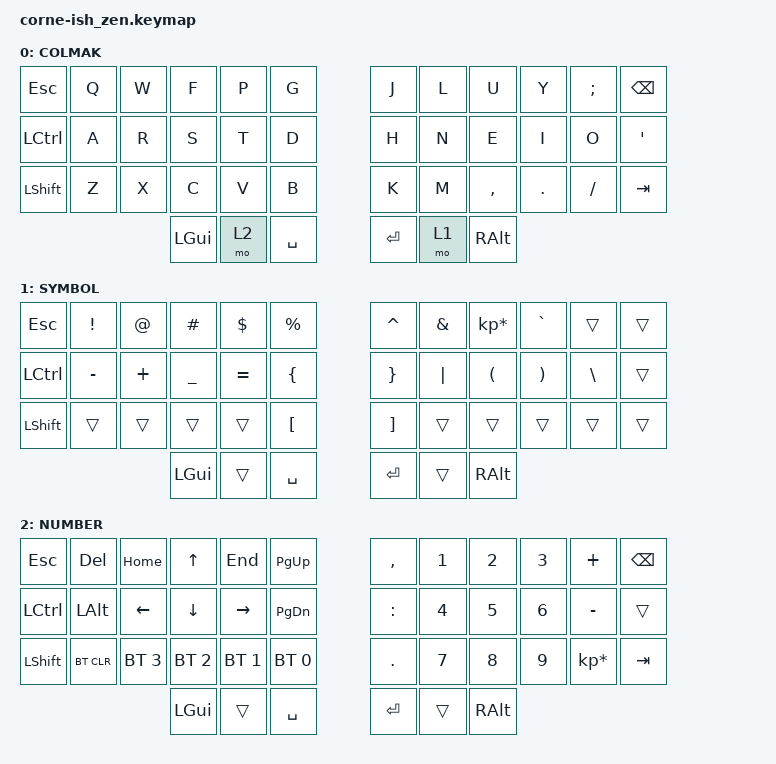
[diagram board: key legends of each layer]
/*
*
* Copyright (c) 2021 Darryl deHaan
* SPDX-License-Identifier: MIT
*
*/

#include <behaviors.dtsi>
#include <dt-bindings/zmk/keys.h>
#include <dt-bindings/zmk/bt.h>

/ {
        keymap {
                compatible = "zmk,keymap";
                default_layer {
                        label = "COLMAK";
// -----------------------------------------------------------------------------------------
// | ESC  |  Q  |  W  |  F  |  P  |  G  |   |  J  |  L   |  U  |  Y  |  ;  | BKSP |
// | CTRL |  A  |  R  |  S  |  T  |  D  |   |  H  |  N   |  E  |  I  |  O  |  '   |
// | SHFT |  Z  |  X  |  C  |  V  |  B  |   |  K  |  M   |  ,  |  .  |  /  | TAB  |
//                    | GUI | LWR | SPC |   | ENT | RSE  | ALT |
                        bindings = <
   &kp ESC    &kp Q  &kp W  &kp F      &kp P  &kp G      &kp J    &kp L  &kp U      &kp Y    &kp SEMI  &kp BSPC
   &kp LCTRL  &kp A  &kp R  &kp S      &kp T  &kp D      &kp H    &kp N  &kp E      &kp I    &kp O     &kp SQT
   &kp LSHFT  &kp Z  &kp X  &kp C      &kp V  &kp B      &kp K    &kp M  &kp COMMA  &kp DOT  &kp FSLH  &kp TAB
                            &kp LGUI   &mo 2  &kp SPACE  &kp RET  &mo 1  &kp RALT
                        >;
                };

                raise_layer {
                        label = "SYMBOL";
// -----------------------------------------------------------------------------------------
// | ESC  |  !  |  @  |  #  |  $  |  %  |   |  ^  |  &  |  *  |  `  |  :  | BKSP |
// | CTRL |  -  |  +  |  _  |  =  |  {  |   |  }  |  |  |  (  |  )  |  \  |  "   |
// | SHFT |     |     |     |     |  [  |   |  ]  |     |     |     |     | TAB  |
//                    | GUI |     | SPC |   | ENT |     | CTRL|
                        bindings = <
   &kp ESC    &kp EXCL  &kp AT     &kp HASH   &kp DLLR  &kp PRCNT    &kp CARET  &kp AMPS  &kp KP_MULTIPLY  &kp GRAVE  &trans     &trans
   &kp LCTRL  &kp MINUS &kp PLUS   &kp UNDER  &kp EQUAL &kp LBRC     &kp RBRC   &kp PIPE  &kp LPAR         &kp RPAR   &kp BSLH   &trans
   &kp LSHFT  &trans    &trans     &trans     &trans    &kp LBKT     &kp RBKT   &trans    &trans           &trans     &trans     &trans
                                   &kp LGUI   &trans    &kp SPACE    &kp RET    &trans    &kp RALT
                        >;
                };

                lower_layer {
                        label = "NUMBER";
// -----------------------------------------------------------------------------------------
// | ESC  | DEL | HME |  UP  | END | PGUP |   |  ,  |  1  |  2  |  3  | + | BKSPC |
// | LCTRL|LALT | LFT | DOWN | RGT | PGDN |   |  :  |  4  |  5  |  6  | - |       |
// | SHFT |BTCLR| BT4 | BT3  | BT2 | BT1  |   |  .  |  7  |  8  |  9  | * |  TAB  |
//                    | GUI  |     | SPC  |   | ENT |     |  0  |
                        bindings = <
   &kp ESC    &kp DEL    &kp HOME     &kp UP        &kp END      &kp PG_UP       &kp COMMA &kp N1  &kp N2    &kp N3  &kp PLUS        &kp BSPC
   &kp LCTRL  &kp LALT   &kp LEFT     &kp DOWN      &kp RIGHT    &kp PG_DN       &kp COLON &kp N4  &kp N5    &kp N6  &kp MINUS       &trans 
   &kp LSHFT  &bt BT_CLR &bt BT_SEL 3 &bt BT_SEL 2  &bt BT_SEL 1 &bt BT_SEL 0   &kp DOT   &kp N7  &kp N8    &kp N9  &kp KP_MULTIPLY &kp TAB
                          	          &kp LGUI      &trans       &kp SPACE       &kp RET   &trans  &kp RALT
                        >;
                };
        };
};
